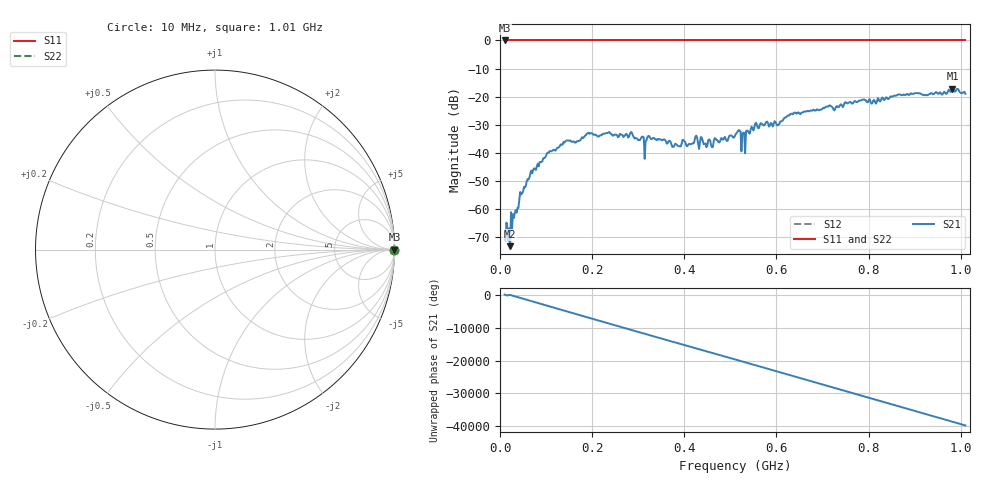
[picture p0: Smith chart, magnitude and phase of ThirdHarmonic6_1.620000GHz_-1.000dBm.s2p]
! 8/16/2025 7:20:59 PM
! C:\ANRITSUVNA\TEMP\TEMP.S2P
! CHANNEL.1
! TR.MEASUREMENT
! RAW.DATA
! RF.CORRECTION.OFF
! AVERAGING.OFF
! IF.BANDWIDTH: 5KHZ
! SWEEPTYPE:  FREQ.SWEEP(Linear)
! Reference Plane Port Info
! PORT:  PORT1  PORT2
! DISTANCE:  0  m  0  m
! TIME:  0  s  0  s
! PHASE.OFFSET:  0  deg.  0  deg.
! LOSS:  0  dB  0  dB
! REF.LOSS:  0  dB  0  dB
! REF.FREQ:  0  Hz  0  Hz
! Power Info
! POWER:  -20  dBm  -20  dBm
! EFF.POWER:  -20  dBm  -20  dBm
! SOURCE.ATTEN:  0  dB  0  dB
! TEST.ATTEN:  0  dB  0  dB
# GHZ S RI R 50.0
! FREQ.GHZ  S11RE  S11IM  S21RE  S21IM  S12RE  S12IM  S22RE  S22IM
!; PortSelection: Port_12
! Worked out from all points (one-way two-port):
!   501 points, 10 MHz to 1.01 GHz, reference 50 ohm
!   highest |S21| = -17.11 dB at 982 MHz (marker M1); lowest = -73.2 dB at 22 MHz (marker M2)
!   lowest |S11| = 0.0 dB at 10 MHz (marker M3)
!   |S11| at or under -10 dB: nowhere
!   |S22| runs from 0.0 to 0.0 dB; largest |S21 - S12| = 1.1
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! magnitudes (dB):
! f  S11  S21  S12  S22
! 10 MHz  0.0  -70.7  0.0  0.0
! 22 MHz  0.0  -73.2  0.0  0.0
! 28 MHz  0.0  -61.8  0.0  0.0
! 46 MHz  0.0  -54.8  0.0  0.0
! 70 MHz  0.0  -47.3  0.0  0.0
! 106 MHz  0.0  -39.9  0.0  0.0
! 178 MHz  0.0  -34.5  0.0  0.0
! 234 MHz  0.0  -32.9  0.0  0.0
! 286 MHz  0.0  -32.8  0.0  0.0
! 314 MHz  0.0  -42.1  0.0  0.0
! 344 MHz  0.0  -35.3  0.0  0.0
! 388 MHz  0.0  -37.7  0.0  0.0
! 426 MHz  0.0  -33.9  0.0  0.0
! 446 MHz  0.0  -36.6  0.0  0.0
! 510 MHz  0.0  -33.9  0.0  0.0
! 518 MHz  0.0  -32.0  0.0  0.0
! 528 MHz  0.0  -32.8  0.0  0.0
! 556 MHz  0.0  -29.3  0.0  0.0
! 678 MHz  0.0  -25.0  0.0  0.0
! 844 MHz  0.0  -20.8  0.0  0.0
! 982 MHz  0.0  -17.1  0.0  0.0
! 1.01 GHz  0.0  -19.0  0.0  0.0
